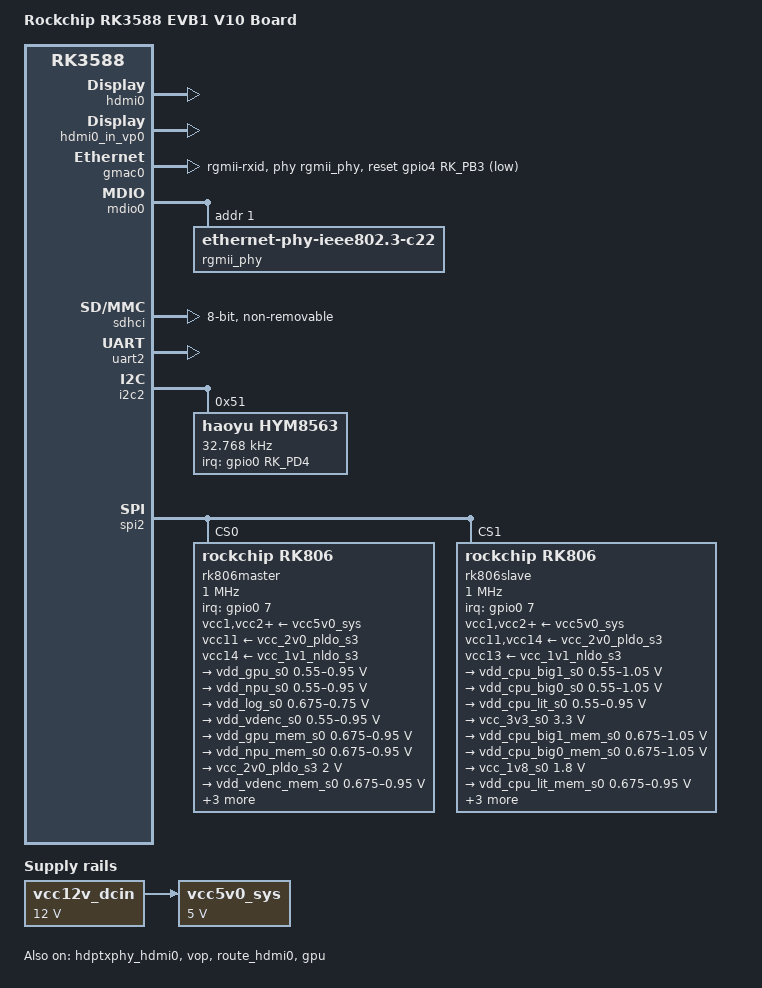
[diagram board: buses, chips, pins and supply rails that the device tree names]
// SPDX-License-Identifier: (GPL-2.0+ OR MIT)
/*
 * Copyright (c) 2021 Rockchip Electronics Co., Ltd.
 *
 */

/dts-v1/;

#include <dt-bindings/pinctrl/rockchip.h>
#include <dt-bindings/gpio/gpio.h>
#include <dt-bindings/display/rockchip_vop.h>
#include "rk3588.dtsi"

/ {
	model = "Rockchip RK3588 EVB1 V10 Board";
	compatible = "rockchip,rk3588-evb1-v10", "rockchip,rk3588";

	chosen {
		stdout-path = "serial2:1500000n8";
	};

	vcc12v_dcin: vcc12v-dcin {
		compatible = "regulator-fixed";
		regulator-name = "vcc12v_dcin";
		regulator-always-on;
		regulator-boot-on;
		regulator-min-microvolt = <12000000>;
		regulator-max-microvolt = <12000000>;
	};

	vcc5v0_sys: vcc5v0-sys {
		compatible = "regulator-fixed";
		regulator-name = "vcc5v0_sys";
		regulator-always-on;
		regulator-boot-on;
		regulator-min-microvolt = <5000000>;
		regulator-max-microvolt = <5000000>;
		vin-supply = <&vcc12v_dcin>;
	};
};

&hdmi0 {
	enable-gpios = <&gpio4 RK_PB1 GPIO_ACTIVE_HIGH>;
	status = "okay";
};

&hdmi0_in_vp0 {
	status = "okay";
};

&hdptxphy_hdmi0 {
	status = "okay";
};

&vop_mmu {
	status = "okay";
};

&vop {
	status = "okay";
};

&route_hdmi0 {
	status = "okay";
	connect = <&vp0_out_hdmi0>;
	/delete-property/ force-output;
	/delete-node/ force_timing;
};

&vp0 {
	rockchip,plane-mask = <(1 << ROCKCHIP_VOP2_CLUSTER0 | 1 << ROCKCHIP_VOP2_ESMART0)>;
	rockchip,primary-plane = <ROCKCHIP_VOP2_ESMART0>;
};

&vp1 {
	rockchip,plane-mask = <(1 << ROCKCHIP_VOP2_CLUSTER1 | 1 << ROCKCHIP_VOP2_ESMART1)>;
	rockchip,primary-plane = <ROCKCHIP_VOP2_ESMART1>;
};

&vp2 {
	rockchip,plane-mask = <(1 << ROCKCHIP_VOP2_CLUSTER2 | 1 << ROCKCHIP_VOP2_ESMART2)>;
	rockchip,primary-plane = <ROCKCHIP_VOP2_ESMART2>;
};

&vp3 {
	rockchip,plane-mask = <(1 << ROCKCHIP_VOP2_CLUSTER3 | 1 << ROCKCHIP_VOP2_ESMART3)>;
	rockchip,primary-plane = <ROCKCHIP_VOP2_ESMART3>;
};

&gmac0 {
	phy-mode = "rgmii-rxid";
	clock_in_out = "output";

	snps,reset-gpio = <&gpio4 RK_PB3 GPIO_ACTIVE_LOW>;
	snps,reset-active-low;
	/* Reset time is 20ms, 100ms for rtl8211f */
	snps,reset-delays-us = <0 20000 100000>;

	pinctrl-names = "default";
	pinctrl-0 = <&gmac0_miim
		     &gmac0_tx_bus2
		     &gmac0_rx_bus2
		     &gmac0_rgmii_clk
		     &gmac0_rgmii_bus>;

	tx_delay = <0x43>;
	rx_delay = <0x00>;

	phy-handle = <&rgmii_phy>;
	status = "okay";
};

&mdio0 {
	rgmii_phy: phy@1 {
		compatible = "ethernet-phy-ieee802.3-c22";
		reg = <0x1>;
		#phy-cells = <0>;
	};
};

&sdhci {
	bus-width = <8>;
	no-sdio;
	no-sd;
	non-removable;
	max-frequency = <200000000>;
	mmc-hs400-1_8v;
	mmc-hs400-enhanced-strobe;
	status = "okay";
};

&uart2 {
	pinctrl-0 = <&uart2m0_xfer>;
	status = "okay";
};

&i2c2 {
	status = "okay";

	hym8563: hym8563@51 {
		compatible = "haoyu,hym8563";
		reg = <0x51>;
		#clock-cells = <0>;
		clock-frequency = <32768>;
		clock-output-names = "hym8563";
		pinctrl-names = "default";
		pinctrl-0 = <&hym8563_int>;
		interrupt-parent = <&gpio0>;
		interrupts = <RK_PD4 IRQ_TYPE_LEVEL_LOW>;
		wakeup-source;
	};
};

&pinctrl {
	hym8563 {
		hym8563_int: hym8563-int {
			rockchip,pins = <0 RK_PD4 RK_FUNC_GPIO &pcfg_pull_up>;
		};
	};
};

&spi2 {
	status = "okay";
	assigned-clocks = <&cru CLK_SPI2>;
	assigned-clock-rates = <200000000>;
	num-cs = <2>;

	rk806master: rk806master@0 {
		compatible = "rockchip,rk806";
		spi-max-frequency = <1000000>;
		reg = <0x0>;

		interrupt-parent = <&gpio0>;
		interrupts = <7 IRQ_TYPE_LEVEL_LOW>;

		pinctrl-names = "default", "pmic-power-off";
		pinctrl-0 = <&pmic_pins>, <&rk806_dvs1_null>, <&rk806_dvs2_null>, <&rk806_dvs3_null>;
		pinctrl-1 = <&rk806_dvs1_pwrdn>;

		/* 2800mv-3500mv */
		low_voltage_threshold = <3000>;
		/* 2700mv-3400mv */
		shutdown_voltage_threshold = <2700>;
		/* 140 160 */
		shutdown_temperture_threshold = <160>;
		hotdie_temperture_threshold = <115>;

		/* 0: restart PMU;
		 * 1: reset all the power off reset registers,
		 *    forcing the state to switch to ACTIVE mode;
		 * 2: Reset all the power off reset registers,
		 *    forcing the state to switch to ACTIVE mode,
		 *    and simultaneously pull down the RESETB PIN for 5mS before releasing
		 */
		pmic-reset-func = <1>;

		vcc1-supply = <&vcc5v0_sys>;
		vcc2-supply = <&vcc5v0_sys>;
		vcc3-supply = <&vcc5v0_sys>;
		vcc4-supply = <&vcc5v0_sys>;
		vcc5-supply = <&vcc5v0_sys>;
		vcc6-supply = <&vcc5v0_sys>;
		vcc7-supply = <&vcc5v0_sys>;
		vcc8-supply = <&vcc5v0_sys>;
		vcc9-supply = <&vcc5v0_sys>;
		vcc10-supply = <&vcc5v0_sys>;
		vcc11-supply = <&vcc_2v0_pldo_s3>;
		vcc12-supply = <&vcc5v0_sys>;
		vcc13-supply = <&vcc5v0_sys>;
		vcc14-supply = <&vcc_1v1_nldo_s3>;
		vcca-supply = <&vcc5v0_sys>;

		pwrkey {
			status = "okay";
		};

		pinctrl_rk806: pinctrl_rk806 {
			gpio-controller;
			#gpio-cells = <2>;

			rk806_dvs1_null: rk806_dvs1_null {
				pins = "gpio_pwrctrl2";
				function = "pin_fun0";
			};

			rk806_dvs1_slp: rk806_dvs1_slp {
				pins = "gpio_pwrctrl1";
				function = "pin_fun1";
			};

			rk806_dvs1_pwrdn: rk806_dvs1_pwrdn {
				pins = "gpio_pwrctrl1";
				function = "pin_fun2";
			};

			rk806_dvs1_rst: rk806_dvs1_rst {
				pins = "gpio_pwrctrl1";
				function = "pin_fun3";
			};

			rk806_dvs2_null: rk806_dvs2_null {
				pins = "gpio_pwrctrl2";
				function = "pin_fun0";
			};

			rk806_dvs2_slp: rk806_dvs2_slp {
				pins = "gpio_pwrctrl2";
				function = "pin_fun1";
			};

			rk806_dvs2_pwrdn: rk806_dvs2_pwrdn {
				pins = "gpio_pwrctrl2";
				function = "pin_fun2";
			};

			rk806_dvs2_rst: rk806_dvs2_rst {
				pins = "gpio_pwrctrl2";
				function = "pin_fun3";
			};

			rk806_dvs2_dvs: rk806_dvs2_dvs {
				pins = "gpio_pwrctrl2";
				function = "pin_fun4";
			};

			rk806_dvs2_gpio: rk806_dvs2_gpio {
				pins = "gpio_pwrctrl2";
				function = "pin_fun5";
			};

			rk806_dvs3_null: rk806_dvs3_null {
				pins = "gpio_pwrctrl3";
				function = "pin_fun0";
			};

			rk806_dvs3_slp: rk806_dvs3_slp {
				pins = "gpio_pwrctrl3";
				function = "pin_fun1";
			};

			rk806_dvs3_pwrdn: rk806_dvs3_pwrdn {
				pins = "gpio_pwrctrl3";
				function = "pin_fun2";
			};

			rk806_dvs3_rst: rk806_dvs3_rst {
				pins = "gpio_pwrctrl3";
				function = "pin_fun3";
			};

			rk806_dvs3_dvs: rk806_dvs3_dvs {
				pins = "gpio_pwrctrl3";
				function = "pin_fun4";
			};

			rk806_dvs3_gpio: rk806_dvs3_gpio {
				pins = "gpio_pwrctrl3";
				function = "pin_fun5";
			};
		};

		regulators {
			vdd_gpu_s0: DCDC_REG1 {
				regulator-boot-on;
				regulator-min-microvolt = <550000>;
				regulator-max-microvolt = <950000>;
				regulator-ramp-delay = <12500>;
				regulator-name = "vdd_gpu_s0";
				regulator-enable-ramp-delay = <400>;
				regulator-state-mem {
					regulator-off-in-suspend;
				};
			};

			vdd_npu_s0: DCDC_REG2 {
				regulator-always-on;
				regulator-boot-on;
				regulator-min-microvolt = <550000>;
				regulator-max-microvolt = <950000>;
				regulator-ramp-delay = <12500>;
				regulator-name = "vdd_npu_s0";
				regulator-state-mem {
					regulator-off-in-suspend;
				};
			};

			vdd_log_s0: DCDC_REG3 {
				regulator-always-on;
				regulator-boot-on;
				regulator-min-microvolt = <675000>;
				regulator-max-microvolt = <750000>;
				regulator-ramp-delay = <12500>;
				regulator-name = "vdd_log_s0";
				regulator-state-mem {
					regulator-off-in-suspend;
					regulator-suspend-microvolt = <750000>;
				};
			};

			vdd_vdenc_s0: DCDC_REG4 {
				regulator-always-on;
				regulator-boot-on;
				regulator-min-microvolt = <550000>;
				regulator-max-microvolt = <950000>;
				regulator-ramp-delay = <12500>;
				regulator-name = "vdd_vdenc_s0";
				regulator-state-mem {
					regulator-off-in-suspend;
				};
			};

			vdd_gpu_mem_s0: DCDC_REG5 {
				regulator-boot-on;
				regulator-min-microvolt = <675000>;
				regulator-max-microvolt = <950000>;
				regulator-ramp-delay = <12500>;
				regulator-enable-ramp-delay = <400>;
				regulator-name = "vdd_gpu_mem_s0";
				regulator-state-mem {
					regulator-off-in-suspend;
				};
			};

			vdd_npu_mem_s0: DCDC_REG6 {
				regulator-always-on;
				regulator-boot-on;
				regulator-min-microvolt = <675000>;
				regulator-max-microvolt = <950000>;
				regulator-ramp-delay = <12500>;
				regulator-name = "vdd_npu_mem_s0";
				regulator-state-mem {
					regulator-off-in-suspend;
				};
			};

			vcc_2v0_pldo_s3: DCDC_REG7 {
				regulator-always-on;
				regulator-boot-on;
				regulator-min-microvolt = <2000000>;
				regulator-max-microvolt = <2000000>;
				regulator-ramp-delay = <12500>;
				regulator-name = "vdd_2v0_pldo_s3";
				regulator-state-mem {
					regulator-on-in-suspend;
					regulator-suspend-microvolt = <2000000>;
				};
			};

			vdd_vdenc_mem_s0: DCDC_REG8 {
				regulator-always-on;
				regulator-boot-on;
				regulator-min-microvolt = <675000>;
				regulator-max-microvolt = <950000>;
				regulator-ramp-delay = <12500>;
				regulator-name = "vdd_vdenc_mem_s0";
				regulator-state-mem {
					regulator-off-in-suspend;
				};
			};

			vdd2_ddr_s3: DCDC_REG9 {
				regulator-always-on;
				regulator-boot-on;
				regulator-name = "vdd2_ddr_s3";
				regulator-state-mem {
					regulator-on-in-suspend;
				};
			};

			vcc_1v1_nldo_s3: DCDC_REG10 {
				regulator-always-on;
				regulator-boot-on;
				regulator-min-microvolt = <1100000>;
				regulator-max-microvolt = <1100000>;
				regulator-ramp-delay = <12500>;
				regulator-name = "vcc_1v1_nldo_s3";
				regulator-state-mem {
					regulator-on-in-suspend;
					regulator-suspend-microvolt = <1100000>;
				};
			};

			avcc_1v8_s0: PLDO_REG1 {
				regulator-always-on;
				regulator-boot-on;
				regulator-min-microvolt = <1800000>;
				regulator-max-microvolt = <1800000>;
				regulator-ramp-delay = <12500>;
				regulator-name = "avcc_1v8_s0";
				regulator-state-mem {
					regulator-off-in-suspend;
				};
			};

			vdd1_1v8_ddr_s3: PLDO_REG2 {
				regulator-always-on;
				regulator-boot-on;
				regulator-min-microvolt = <1800000>;
				regulator-max-microvolt = <1800000>;
				regulator-ramp-delay = <12500>;
				regulator-name = "vdd1_1v8_ddr_s3";
				regulator-state-mem {
					regulator-on-in-suspend;
					regulator-suspend-microvolt = <1800000>;
				};
			};

			avcc_1v8_codec_s0: PLDO_REG3 {
				regulator-always-on;
				regulator-boot-on;
				regulator-min-microvolt = <1800000>;
				regulator-max-microvolt = <1800000>;
				regulator-ramp-delay = <12500>;
				regulator-name = "avcc_1v8_codec_s0";
				regulator-state-mem {
					regulator-off-in-suspend;
				};
			};

			vcc_3v3_s3: PLDO_REG4 {
				regulator-always-on;
				regulator-boot-on;
				regulator-min-microvolt = <3300000>;
				regulator-max-microvolt = <3300000>;
				regulator-ramp-delay = <12500>;
				regulator-name = "vcc_3v3_s3";
				regulator-state-mem {
					regulator-on-in-suspend;
					regulator-suspend-microvolt = <3300000>;
				};
			};

			vccio_sd_s0: PLDO_REG5 {
				regulator-always-on;
				regulator-boot-on;
				regulator-min-microvolt = <1800000>;
				regulator-max-microvolt = <3300000>;
				regulator-ramp-delay = <12500>;
				regulator-name = "vccio_sd_s0";
				regulator-state-mem {
					regulator-off-in-suspend;
				};
			};

			vccio_1v8_s3: PLDO_REG6 {
				regulator-always-on;
				regulator-boot-on;
				regulator-min-microvolt = <1800000>;
				regulator-max-microvolt = <1800000>;
				regulator-ramp-delay = <12500>;
				regulator-name = "vccio_1v8_s3";
				regulator-state-mem {
					regulator-on-in-suspend;
					regulator-suspend-microvolt = <1800000>;
				};
			};

			vdd_0v75_s3: NLDO_REG1 {
				regulator-always-on;
				regulator-boot-on;
				regulator-min-microvolt = <750000>;
				regulator-max-microvolt = <750000>;
				regulator-ramp-delay = <12500>;
				regulator-name = "vdd_0v75_s3";
				regulator-state-mem {
					regulator-on-in-suspend;
					regulator-suspend-microvolt = <750000>;
				};
			};

			vdd2l_0v9_ddr_s3: NLDO_REG2 {
				regulator-always-on;
				regulator-boot-on;
				regulator-min-microvolt = <900000>;
				regulator-max-microvolt = <900000>;
				regulator-name = "vdd2l_0v9_ddr_s3";
				regulator-state-mem {
					regulator-on-in-suspend;
					regulator-suspend-microvolt = <900000>;
				};
			};

			vdd_0v75_hdmi_edp_s0: NLDO_REG3 {
				regulator-always-on;
				regulator-boot-on;
				regulator-min-microvolt = <750000>;
				regulator-max-microvolt = <750000>;
				regulator-name = "vdd_0v75_hdmi_edp_s0";
				regulator-state-mem {
					regulator-off-in-suspend;
				};
			};

			avdd_0v75_s0: NLDO_REG4 {
				regulator-always-on;
				regulator-boot-on;
				regulator-min-microvolt = <750000>;
				regulator-max-microvolt = <750000>;
				regulator-name = "avdd_0v75_s0";
				regulator-state-mem {
					regulator-off-in-suspend;
				};
			};

			vdd_0v85_s0: NLDO_REG5 {
				regulator-always-on;
				regulator-boot-on;
				regulator-min-microvolt = <850000>;
				regulator-max-microvolt = <850000>;
				regulator-name = "vdd_0v85_s0";
				regulator-state-mem {
					regulator-off-in-suspend;
				};
			};
		};
	};

	rk806slave: rk806slave@1 {
		compatible = "rockchip,rk806";
		spi-max-frequency = <1000000>;
		reg = <0x01>;

		interrupt-parent = <&gpio0>;
		interrupts = <7 IRQ_TYPE_LEVEL_LOW>;

		pinctrl-names = "default";
		pinctrl-0 = <&rk806_slave_dvs1_null>, <&rk806_slave_dvs2_null>, <&rk806_slave_dvs3_null>;

		/* 0: restart PMU;
		 * 1: reset all the power off reset registers,
		 *    forcing the state to switch to ACTIVE mode;
		 * 2: Reset all the power off reset registers,
		 *    forcing the state to switch to ACTIVE mode,
		 *    and simultaneously pull down the RESETB PIN for 5mS before releasing
		 */
		pmic-reset-func = <1>;

		vcc1-supply = <&vcc5v0_sys>;
		vcc2-supply = <&vcc5v0_sys>;
		vcc3-supply = <&vcc5v0_sys>;
		vcc4-supply = <&vcc5v0_sys>;
		vcc5-supply = <&vcc5v0_sys>;
		vcc6-supply = <&vcc5v0_sys>;
		vcc7-supply = <&vcc5v0_sys>;
		vcc8-supply = <&vcc5v0_sys>;
		vcc9-supply = <&vcc5v0_sys>;
		vcc10-supply = <&vcc5v0_sys>;
		vcc11-supply = <&vcc_2v0_pldo_s3>;
		vcc12-supply = <&vcc5v0_sys>;
		vcc13-supply = <&vcc_1v1_nldo_s3>;
		vcc14-supply = <&vcc_2v0_pldo_s3>;
		vcca-supply = <&vcc5v0_sys>;

		pwrkey {
			status = "disabled";
		};

		pinctrl_slave_rk806: pinctrl_slave_rk806 {
			gpio-controller;
			#gpio-cells = <2>;

			rk806_slave_dvs1_null: rk806_slave_dvs1_null {
				pins = "gpio_pwrctrl2";
				function = "pin_fun0";
			};

			rk806_slave_dvs1_slp: rk806_slave_dvs1_slp {
				pins = "gpio_pwrctrl1";
				function = "pin_fun1";
			};

			rk806_slave_dvs1_pwrdn: rk806_slave_dvs1_pwrdn {
				pins = "gpio_pwrctrl1";
				function = "pin_fun2";
			};

			rk806_slave_dvs1_rst: rk806_slave_dvs1_rst {
				pins = "gpio_pwrctrl1";
				function = "pin_fun3";
			};

			rk806_slave_dvs2_null: rk806_slave_dvs2_null {
				pins = "gpio_pwrctrl2";
				function = "pin_fun0";
			};

			rk806_slave_dvs2_slp: rk806_slave_dvs2_slp {
				pins = "gpio_pwrctrl2";
				function = "pin_fun1";
			};

			rk806_slave_dvs2_pwrdn: rk806_slave_dvs2_pwrdn {
				pins = "gpio_pwrctrl2";
				function = "pin_fun2";
			};

			rk806_slave_dvs2_rst: rk806_slave_dvs2_rst {
				pins = "gpio_pwrctrl2";
				function = "pin_fun3";
			};

			rk806_slave_dvs2_dvs: rk806_slave_dvs2_dvs {
				pins = "gpio_pwrctrl2";
				function = "pin_fun4";
			};

			rk806_slave_dvs2_gpio: rk806_slave_dvs2_gpio {
				pins = "gpio_pwrctrl2";
				function = "pin_fun5";
			};

			rk806_slave_dvs3_null: rk806_slave_dvs3_null {
				pins = "gpio_pwrctrl3";
				function = "pin_fun0";
			};

			rk806_slave_dvs3_slp: rk806_slave_dvs3_slp {
				pins = "gpio_pwrctrl3";
				function = "pin_fun1";
			};

			rk806_slave_dvs3_pwrdn: rk806_slave_dvs3_pwrdn {
				pins = "gpio_pwrctrl3";
				function = "pin_fun2";
			};

			rk806_slave_dvs3_rst: rk806_slave_dvs3_rst {
				pins = "gpio_pwrctrl3";
				function = "pin_fun3";
			};

			rk806_slave_dvs3_dvs: rk806_slave_dvs3_dvs {
				pins = "gpio_pwrctrl3";
				function = "pin_fun4";
			};

			rk806_slave_dvs3_gpio: rk806_slave_dvs3_gpio {
				pins = "gpio_pwrctrl3";
				function = "pin_fun5";
			};
		};

		regulators {
			vdd_cpu_big1_s0: DCDC_REG1 {
				regulator-always-on;
				regulator-boot-on;
				regulator-min-microvolt = <550000>;
				regulator-max-microvolt = <1050000>;
				regulator-ramp-delay = <12500>;
				regulator-name = "vdd_cpu_big1_s0";
				regulator-state-mem {
					regulator-off-in-suspend;
				};
			};

			vdd_cpu_big0_s0: DCDC_REG2 {
				regulator-always-on;
				regulator-boot-on;
				regulator-min-microvolt = <550000>;
				regulator-max-microvolt = <1050000>;
				regulator-ramp-delay = <12500>;
				regulator-name = "vdd_cpu_big0_s0";
				regulator-state-mem {
					regulator-off-in-suspend;
				};
			};

			vdd_cpu_lit_s0: DCDC_REG3 {
				regulator-always-on;
				regulator-boot-on;
				regulator-min-microvolt = <550000>;
				regulator-max-microvolt = <950000>;
				regulator-ramp-delay = <12500>;
				regulator-name = "vdd_cpu_lit_s0";
				regulator-state-mem {
					regulator-off-in-suspend;
				};
			};

			vcc_3v3_s0: DCDC_REG4 {
				regulator-always-on;
				regulator-boot-on;
				regulator-min-microvolt = <3300000>;
				regulator-max-microvolt = <3300000>;
				regulator-ramp-delay = <12500>;
				regulator-name = "vcc_3v3_s0";
				regulator-state-mem {
					regulator-off-in-suspend;
				};
			};

			vdd_cpu_big1_mem_s0: DCDC_REG5 {
				regulator-always-on;
				regulator-boot-on;
				regulator-min-microvolt = <675000>;
				regulator-max-microvolt = <1050000>;
				regulator-ramp-delay = <12500>;
				regulator-name = "vdd_cpu_big1_mem_s0";
				regulator-state-mem {
					regulator-off-in-suspend;
				};
			};


			vdd_cpu_big0_mem_s0: DCDC_REG6 {
				regulator-always-on;
				regulator-boot-on;
				regulator-min-microvolt = <675000>;
				regulator-max-microvolt = <1050000>;
				regulator-ramp-delay = <12500>;
				regulator-name = "vdd_cpu_big0_mem_s0";
				regulator-state-mem {
					regulator-off-in-suspend;
				};
			};

			vcc_1v8_s0: DCDC_REG7 {
				regulator-always-on;
				regulator-boot-on;
				regulator-min-microvolt = <1800000>;
				regulator-max-microvolt = <1800000>;
				regulator-ramp-delay = <12500>;
				regulator-name = "vcc_1v8_s0";
				regulator-state-mem {
					regulator-off-in-suspend;
				};
			};

			vdd_cpu_lit_mem_s0: DCDC_REG8 {
				regulator-always-on;
				regulator-boot-on;
				regulator-min-microvolt = <675000>;
				regulator-max-microvolt = <950000>;
				regulator-ramp-delay = <12500>;
				regulator-name = "vdd_cpu_lit_mem_s0";
				regulator-state-mem {
					regulator-off-in-suspend;
				};
			};

			vddq_ddr_s0: DCDC_REG9 {
				regulator-always-on;
				regulator-boot-on;
				regulator-name = "vddq_ddr_s0";
				regulator-state-mem {
					regulator-off-in-suspend;
				};
			};

			vdd_ddr_s0: DCDC_REG10 {
				regulator-always-on;
				regulator-boot-on;
				regulator-min-microvolt = <675000>;
				regulator-max-microvolt = <900000>;
				regulator-ramp-delay = <12500>;
				regulator-name = "vdd_ddr_s0";
				regulator-state-mem {
					regulator-off-in-suspend;
				};
			};

			vcc_1v8_cam_s0: PLDO_REG1 {
				regulator-always-on;
				regulator-boot-on;
				regulator-min-microvolt = <1800000>;
				regulator-max-microvolt = <1800000>;
				regulator-ramp-delay = <12500>;
				regulator-name = "vcc_1v8_cam_s0";
				regulator-state-mem {
					regulator-off-in-suspend;
				};
			};

			avdd1v8_ddr_pll_s0: PLDO_REG2 {
				regulator-always-on;
				regulator-boot-on;
				regulator-min-microvolt = <1800000>;
				regulator-max-microvolt = <1800000>;
				regulator-ramp-delay = <12500>;
				regulator-name = "avdd1v8_ddr_pll_s0";
				regulator-state-mem {
					regulator-off-in-suspend;
				};
			};

			vdd_1v8_pll_s0: PLDO_REG3 {
				regulator-always-on;
				regulator-boot-on;
				regulator-min-microvolt = <1800000>;
				regulator-max-microvolt = <1800000>;
				regulator-ramp-delay = <12500>;
				regulator-name = "vdd_1v8_pll_s0";
				regulator-state-mem {
					regulator-off-in-suspend;
				};
			};

			vcc_3v3_sd_s0: PLDO_REG4 {
				regulator-always-on;
				regulator-boot-on;
				regulator-min-microvolt = <3300000>;
				regulator-max-microvolt = <3300000>;
				regulator-ramp-delay = <12500>;
				regulator-name = "vcc_3v3_sd_s0";
				regulator-state-mem {
					regulator-off-in-suspend;
				};
			};

			vcc_2v8_cam_s0: PLDO_REG5 {
				regulator-always-on;
				regulator-boot-on;
				regulator-min-microvolt = <2800000>;
				regulator-max-microvolt = <2800000>;
				regulator-ramp-delay = <12500>;
				regulator-name = "vcc_2v8_cam_s0";
				regulator-state-mem {
					regulator-off-in-suspend;
				};
			};

			pldo6_s3: PLDO_REG6 {
				regulator-always-on;
				regulator-boot-on;
				regulator-min-microvolt = <1800000>;
				regulator-max-microvolt = <1800000>;
				regulator-name = "pldo6_s3";
				regulator-state-mem {
					regulator-on-in-suspend;
					regulator-suspend-microvolt = <1800000>;
				};
			};

			vdd_0v75_pll_s0: NLDO_REG1 {
				regulator-always-on;
				regulator-boot-on;
				regulator-min-microvolt = <750000>;
				regulator-max-microvolt = <750000>;
				regulator-ramp-delay = <12500>;
				regulator-name = "vdd_0v75_pll_s0";
				regulator-state-mem {
					regulator-off-in-suspend;
				};
			};

			vdd_ddr_pll_s0: NLDO_REG2 {
				regulator-always-on;
				regulator-boot-on;
				regulator-min-microvolt = <850000>;
				regulator-max-microvolt = <850000>;
				regulator-name = "vdd_ddr_pll_s0";
				regulator-state-mem {
					regulator-off-in-suspend;
				};
			};

			avdd_0v85_s0: NLDO_REG3 {
				regulator-always-on;
				regulator-boot-on;
				regulator-min-microvolt = <850000>;
				regulator-max-microvolt = <850000>;
				regulator-ramp-delay = <12500>;
				regulator-name = "avdd_0v85_s0";
				regulator-state-mem {
					regulator-off-in-suspend;
				};
			};

			avdd_1v2_cam_s0: NLDO_REG4 {
				regulator-always-on;
				regulator-boot-on;
				regulator-min-microvolt = <1200000>;
				regulator-max-microvolt = <1200000>;
				regulator-ramp-delay = <12500>;
				regulator-name = "avdd_1v2_cam_s0";
				regulator-state-mem {
					regulator-off-in-suspend;
				};
			};

			avdd_1v2_s0: NLDO_REG5 {
				regulator-always-on;
				regulator-boot-on;
				regulator-min-microvolt = <1200000>;
				regulator-max-microvolt = <1200000>;
				regulator-ramp-delay = <12500>;
				regulator-name = "avdd_1v2_s0";
				regulator-state-mem {
					regulator-off-in-suspend;
				};
			};
		};
	};
};

&gpu {
	mali-supply = <&vdd_gpu_s0>;
	mem-supply = <&vdd_gpu_mem_s0>;
	status = "okay";
};
